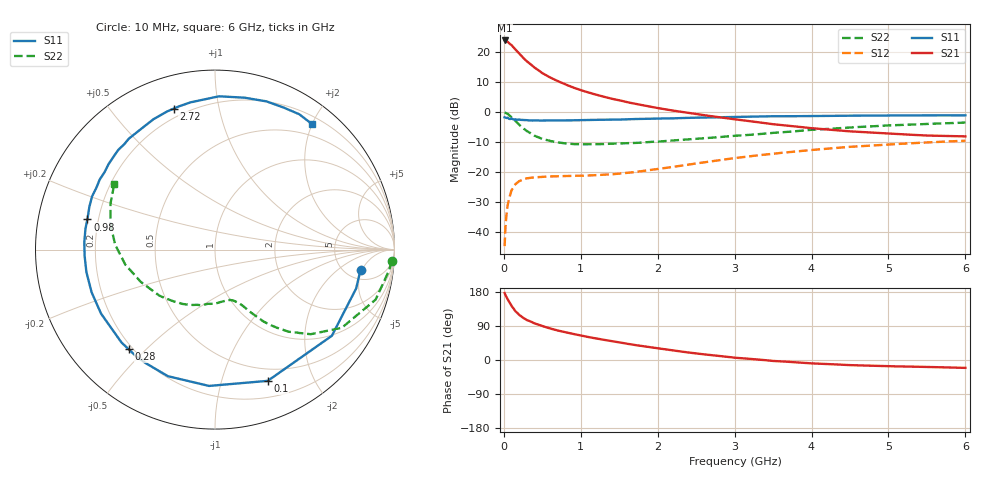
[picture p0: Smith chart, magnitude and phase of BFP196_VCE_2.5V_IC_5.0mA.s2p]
! Infineon Technologies  Discrete & RF Semiconductors
! BFP196
! VCE = 2.5 V,  IC = 5.0mA
! Common Emitter S-Parameters:  Jan 2016
# GHz  S  MA  R  50
!  f  S11  S21  S12  S22
! GHz  MAG  ANG  MAG  ANG  MAG  ANG  MAG  ANG
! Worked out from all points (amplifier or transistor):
!   210 points, 10 MHz to 6 GHz, reference 50 ohm
!   highest |S21| = 23.9 dB at 10 MHz (marker M1)
!   |S21| within 3 dB of that: start of sweep to 150.7 MHz
!   unconditionally stable (mu >= 1): 1.115 GHz to 3.384 GHz; 5.991505 GHz to end of sweep
!   at 185 MHz: K = 0.20, MSG = 21.7 dB, |S12| = -23.3 dB
!   at 1.52 GHz: K = 1.20, MAG = 9.4 dB, |S12| = -20.5 dB
!   at 6 GHz: K = 1.00, MAG = 0.6 dB, |S12| = -9.5 dB
!   S11 on the Smith chart (normalised r, x): 10 MHz: 6.87, -4.63; 100 MHz: 0.37, -1.42; 280 MHz: 0.18, -0.44; 980 MHz: 0.16, +0.11; 2.72 GHz: 0.15, +0.74; 6 GHz: 0.31, +2.00
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0.01  0.8187 -7.8  15.71 176.8  0.0058 86.8  0.9878 -3.7
0.02  0.8157 -15.4  15.47 171.4  0.0114 81.6  0.9753 -7.1
0.05  0.809 -36.4  14.9 159.7  0.0282 71.9  0.9373 -17.3
0.1  0.7881 -68.1  13.15 142.6  0.0496 56.9  0.8304 -31.6
0.15  0.7603 -92.5  11.15 128.7  0.0628 45.9  0.7114 -41.5
0.2  0.7525 -110.4  9.512 119.0  0.0705 38.5  0.6148 -48.1
0.24  0.7412 -121.6  8.35 113.0  0.0744 33.9  0.5537 -51.7
0.28  0.7346 -130.9  7.446 107.9  0.0774 30.9  0.5053 -54.6
0.3  0.7344 -135.2  7.042 105.3  0.0787 29.7  0.4833 -56.0
0.4  0.7282 -150.7  5.533 96.5  0.0817 24.9  0.4033 -60.3
0.5  0.7274 -161.0  4.48 89.4  0.0831 22.5  0.3572 -63.1
0.6  0.7274 -170.1  3.798 83.2  0.0845 21.3  0.3312 -65.4
0.7  0.7273 -177.4  3.298 77.8  0.0851 20.9  0.3128 -68.0
0.98  0.7309 166.7  2.375 65.5  0.0866 22.7  0.2912 -75.2
1.02  0.7327 164.8  2.284 63.8  0.0868 23.1  0.2908 -76.3
1.4  0.7516 148.8  1.675 49.9  0.0915 28.5  0.298 -87.5
2.02  0.7827 127.2  1.159 30.4  0.1132 37.2  0.3235 -108.0
2.72  0.8184 106.4  0.849 12.4  0.1526 39.4  0.376 -131.4
3.1  0.8338 97.2  0.733 4.6  0.1773 37.2  0.4097 -144.1
4.1  0.8632 77.4  0.527 -9.7  0.2392 27.4  0.5151 -173.2
5.1  0.88 63.0  0.432 -16.8  0.2936 15.0  0.6063 164.0
6  0.8839 52.3  0.394 -20.8  0.3337 3.4  0.6701 146.8
